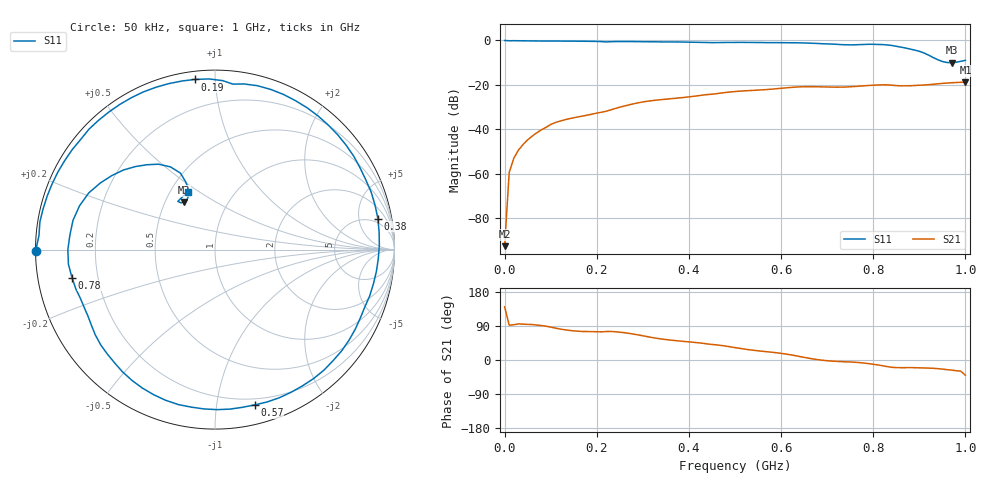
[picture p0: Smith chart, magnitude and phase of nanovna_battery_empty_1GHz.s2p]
# Hz S RI R 50
!  Frequency  S11_Real  S11_Imag  S21_Real  S21_Imag  S12_Real  S12_Imag  S22_Real  S22_Imag
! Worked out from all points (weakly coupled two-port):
!   101 points, 50 kHz to 1 GHz, reference 50 ohm
!   highest |S21| = -18.79 dB at 1 GHz (marker M1); lowest = -92.7 dB at 50 kHz (marker M2)
!   lowest |S11| = -10.0 dB at 970 MHz (marker M3), VSWR 1.92, Z = 31.2 + j18.3 ohm
!   |S11| at or under -10 dB: 967.3817 MHz to 971.3369 MHz (3.955 MHz wide, 0.408 % of centre)
!   S12 and S22 are empty: the file has one direction only
!   S11 on the Smith chart (normalised r, x): 50 kHz: -0.00, -0.00; 190 MHz: 0.04, +0.89; 380 MHz: 3.80, +8.98; 570 MHz: 0.15, -1.28; 780 MHz: 0.10, -0.10; 1 GHz: 0.61, +0.45
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50000  -1 -0.0096  -1.8e-05 1.47e-05  0 0  0 0
1.00495e7  -0.9807 0.0779  -3.45e-05 0.00107  0 0  0 0
2.0049e7  -0.9756 0.1548  -0.000119 0.00223  0 0  0 0
3.00485e7  -0.9575 0.2277  -0.000316 0.00337  0 0  0 0
6.0047e7  -0.8752 0.4324  -0.000438 0.00699  0 0  0 0
1.00045e8  -0.7014 0.6716  0.00068 0.0128  0 0  0 0
1.700415e8  -0.2565 0.925  0.00506 0.0192  0 0  0 0
1.900405e8  -0.1106 0.9483  0.00571 0.0212  0 0  0 0
2.60037e8  0.3809 0.8647  0.0103 0.0317  0 0  0 0
3.40033e8  0.809 0.4539  0.0263 0.0382  0 0  0 0
3.80031e8  0.9074 0.1732  0.0327 0.0391  0 0  0 0
4.300285e8  0.8825 -0.1912  0.0421 0.0409  0 0  0 0
5.00025e8  0.657 -0.6197  0.0595 0.0382  0 0  0 0
5.700215e8  0.2215 -0.8652  0.0729 0.0291  0 0  0 0
6.20019e8  -0.131 -0.8779  0.0846 0.0209  0 0  0 0
6.700165e8  -0.4629 -0.7284  0.0908 0.0042  0 0  0 0
7.80011e8  -0.7969 -0.1558  0.0943 -0.0133  0 0  0 0
8.40008e8  -0.7027 0.3166  0.0928 -0.0324  0 0  0 0
9.00005e8  -0.3146 0.4759  0.0916 -0.0346  0 0  0 0
9.300035e8  -0.1638 0.3785  0.0956 -0.0384  0 0  0 0
9.700015e8  -0.172 0.2642  0.0996 -0.0501  0 0  0 0
1e9  -0.1521 0.3221  0.0879 -0.0741  0 0  0 0
